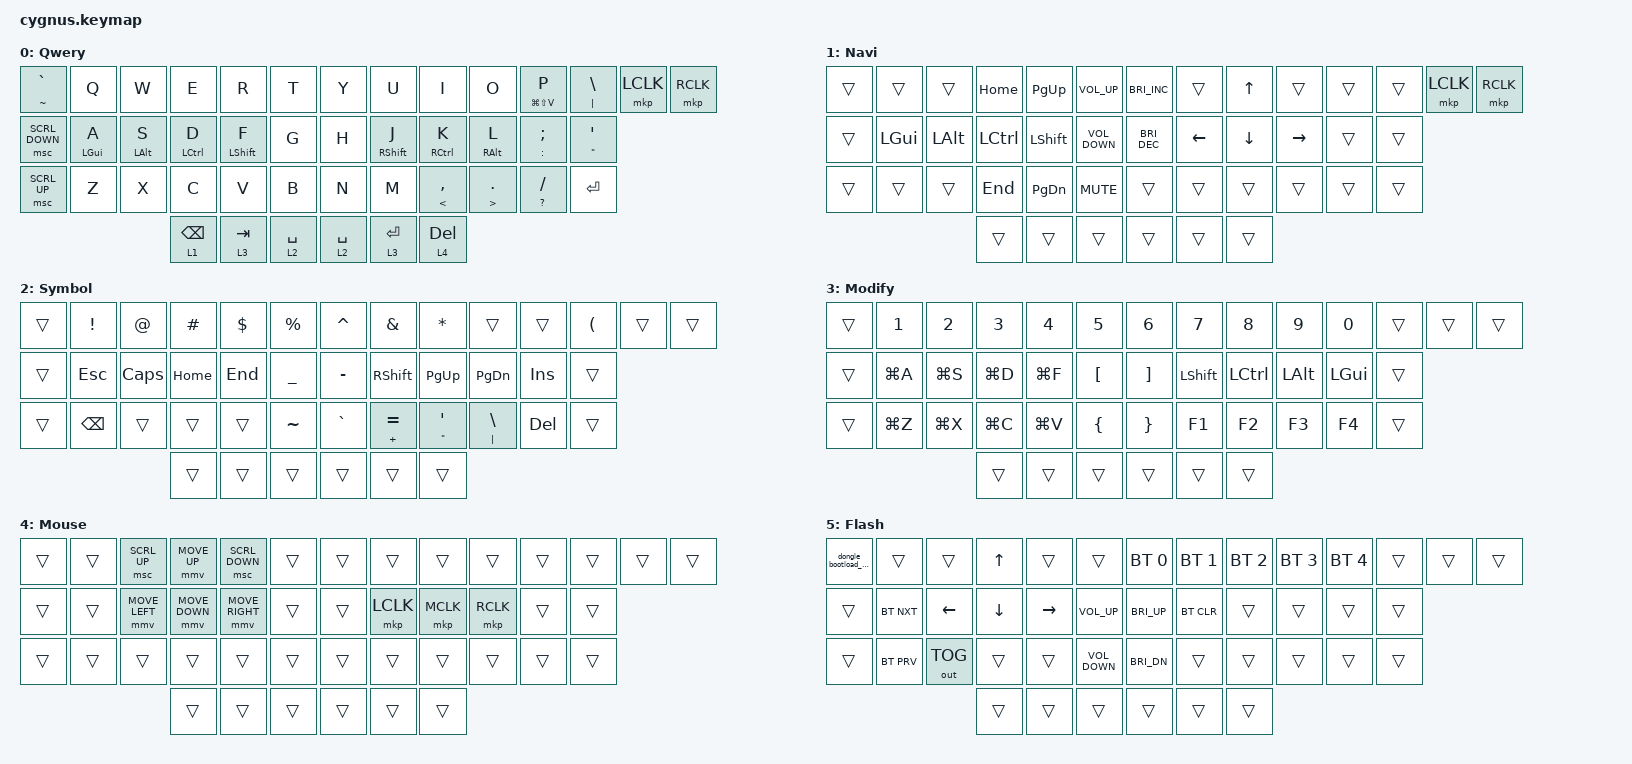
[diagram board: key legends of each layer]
/*
 * Copyright (c) 2020 The ZMK Contributors
 *
 * SPDX-License-Identifier: MIT
 */

#include <behaviors/mouse_keys.dtsi>
#include <dt-bindings/zmk/mouse.h>
#include <behaviors.dtsi>
#include <dt-bindings/zmk/bt.h>
#include <dt-bindings/zmk/keys.h>
#include <dt-bindings/zmk/outputs.h>


&mt {
    tapping-term-ms = <200>;
    flavor = "tap-preferred";
};

&sk {
    release-after-ms = <2000>;
    quick-release;
};

/ {
    macros {
        dongle_bootload_macro: bootload_macro {
            compatible = "zmk,behavior-macro";
            #binding-cells = <0>;
            bindings = <&bootloader>;
            label = "BOOTLOAD_MACRO";
        };
    };

    combos {
        compatible = "zmk,combos";

        left_bkt {
            bindings = <&kp LBKT>;
            key-positions = <3 4>;
            timeout-ms = <50>;
        };

        right_bkt {
            bindings = <&kp RBKT>;
            key-positions = <7 8>;
            timeout-ms = <50>;
        };

        left_par {
            bindings = <&kp LEFT_PARENTHESIS>;
            key-positions = <17 18>;
            timeout-ms = <50>;
        };

        right_par {
            bindings = <&kp RIGHT_PARENTHESIS>;
            key-positions = <22 21>;
            timeout-ms = <50>;
        };

        left_brace {
            bindings = <&kp LEFT_BRACE>;
            key-positions = <29 30>;
            timeout-ms = <50>;
        };

        right_brace {
            bindings = <&kp RIGHT_BRACE>;
            key-positions = <33 34>;
            timeout-ms = <50>;
        };

        bac {
            bindings = <&kp BACKSLASH>;
            key-positions = <5 6>;
        };

        pipe {
            bindings = <&kp PIPE>;
            key-positions = <19 20>;
        };

        esc {
            bindings = <&kp ESC>;
            key-positions = <0 1>;
        };

        plus {
            bindings = <&kp PLUS>;
            key-positions = <9 8>;
        };

        equal {
            bindings = <&kp EQUAL>;
            key-positions = <23 22>;
        };
    };

    behaviors {
        hm: homerow_mods {
            compatible = "zmk,behavior-hold-tap";
            label = "HOMEROW_MODS";
            #binding-cells = <2>;
            tapping-term-ms = <200>;
            quick_tap_ms = <0>;
            flavor = "tap-preferred";
            bindings = <&kp>, <&kp>;

            quick-tap-ms = <180>;
            global-quick-tap;
        };

        ltq: ltq {
            compatible = "zmk,behavior-hold-tap";
            label = "LTQ";
            #binding-cells = <2>;
            tapping-term-ms = <200>;
            flavor = "hold-preferred";
            bindings = <&mo>, <&kp>;

            quick-tap-ms = <180>;
        };

        as: as {
            compatible = "zmk,behavior-hold-tap";
            label = "AUTO_SHIFT";
            bindings = <&kp>, <&kp>;

            #binding-cells = <2>;
            tapping-term-ms = <135>;
            quick-tap-ms = <0>;
            flavor = "tap-preferred";
        };
    };

    keymap {
        compatible = "zmk,keymap";

        Qwery {
            bindings = <
&as TILDE GRAVE  &kp Q           &kp W           &kp E             &kp R             &kp T        &kp Y         &kp U              &kp I                &kp O                    &hm LG(LS(V)) P      &as PIPE BACKSLASH              &mkp LCLK  &mkp RCLK
&msc SCRL_DOWN   &hm LEFT_GUI A  &hm LEFT_ALT S  &hm LCTRL D       &hm LEFT_SHIFT F  &kp G        &kp H         &hm RIGHT_SHIFT J  &hm RCTRL K          &hm RIGHT_ALT L          &as COLON SEMICOLON  &as DOUBLE_QUOTES SINGLE_QUOTE
&msc SCRL_UP     &kp Z           &kp X           &kp C             &kp V             &kp B        &kp N         &kp M              &as LESS_THAN COMMA  &as GREATER_THAN PERIOD  &as QUESTION SLASH   &kp ENTER
                                                 &ltq 1 BACKSPACE  &lt 3 TAB         &lt 2 SPACE  &ltq 2 SPACE  &ltq 3 ENTER       &ltq 4 DEL
            >;

            label = "Qwery";
        };

        Navi {
            bindings = <
&trans  &trans        &trans        &kp HOME          &kp PAGE_UP     &kp C_VOLUME_UP    &kp C_BRIGHTNESS_INC  &trans    &kp UP_ARROW    &trans           &trans  &trans  &mkp LCLK  &mkp RCLK
&trans  &kp LEFT_GUI  &kp LEFT_ALT  &kp LEFT_CONTROL  &kp LEFT_SHIFT  &kp C_VOLUME_DOWN  &kp C_BRIGHTNESS_DEC  &kp LEFT  &kp DOWN_ARROW  &kp RIGHT_ARROW  &trans  &trans
&trans  &trans        &trans        &kp END           &kp PAGE_DOWN   &kp K_MUTE         &trans                &trans    &trans          &trans           &trans  &trans
                                    &trans            &trans          &trans             &trans                &trans    &trans
            >;

            label = "Navi";
        };

        Symbol {
            bindings = <
&trans  &kp EXCLAMATION  &kp AT_SIGN   &kp HASH  &kp DOLLAR  &kp PERCENT  &kp CARET  &kp AMPERSAND    &kp STAR                        &trans              &trans      &kp LEFT_PARENTHESIS  &trans  &trans
&trans  &kp ESCAPE       &kp CAPSLOCK  &kp HOME  &kp END     &kp UNDER    &kp MINUS  &kp RIGHT_SHIFT  &kp PAGE_UP                     &kp PAGE_DOWN       &kp INSERT  &trans
&trans  &kp BACKSPACE    &trans        &trans    &trans      &kp TILDE    &kp GRAVE  &as PLUS EQUAL   &as DOUBLE_QUOTES SINGLE_QUOTE  &as PIPE BACKSLASH  &kp DEL     &trans
                                       &trans    &trans      &trans       &trans     &trans           &trans
            >;

            label = "Symbol";
        };

        Modify {
            bindings = <
&trans  &kp NUMBER_1  &kp NUMBER_2  &kp NUMBER_3  &kp NUMBER_4  &kp NUMBER_5      &kp NUMBER_6       &kp NUMBER_7    &kp NUMBER_8      &kp NUMBER_9  &kp NUMBER_0  &trans  &trans  &trans
&trans  &kp LG(A)     &kp LG(S)     &kp LG(D)     &kp LG(F)     &kp LEFT_BRACKET  &kp RIGHT_BRACKET  &kp LEFT_SHIFT  &kp LEFT_CONTROL  &kp LEFT_ALT  &kp LEFT_GUI  &trans
&trans  &kp LG(Z)     &kp LG(X)     &kp LG(C)     &kp LG(V)     &kp LEFT_BRACE    &kp RIGHT_BRACE    &kp F1          &kp F2            &kp F3        &kp F4        &trans
                                    &trans        &trans        &trans            &trans             &trans          &trans
            >;

            label = "Modify";
        };

        Mouse {
            bindings = <
&trans  &trans  &msc SCRL_UP    &mmv MOVE_UP    &msc SCRL_DOWN   &trans  &trans  &trans     &trans     &trans     &trans  &trans  &trans  &trans
&trans  &trans  &mmv MOVE_LEFT  &mmv MOVE_DOWN  &mmv MOVE_RIGHT  &trans  &trans  &mkp LCLK  &mkp MCLK  &mkp RCLK  &trans  &trans
&trans  &trans  &trans          &trans          &trans           &trans  &trans  &trans     &trans     &trans     &trans  &trans
                                &trans          &trans           &trans  &trans  &trans     &trans
            >;

            label = "Mouse";
        };

        Flash {
            bindings = <
&dongle_bootload_macro  &trans      &trans        &kp UP    &trans     &trans             &bt BT_SEL 0  &bt BT_SEL 1  &bt BT_SEL 2  &bt BT_SEL 3  &bt BT_SEL 4  &trans  &trans  &trans
&trans                  &bt BT_NXT  &kp LEFT      &kp DOWN  &kp RIGHT  &kp C_VOLUME_UP    &kp C_BRI_UP  &bt BT_CLR    &trans        &trans        &trans        &trans
&trans                  &bt BT_PRV  &out OUT_TOG  &trans    &trans     &kp C_VOLUME_DOWN  &kp C_BRI_DN  &trans        &trans        &trans        &trans        &trans
                                                  &trans    &trans     &trans             &trans        &trans        &trans
            >;

            label = "Flash";
        };
    };

    conditional_layers {
        compatible = "zmk,conditional-layers";

        Flash {
            if-layers = <2 3>;
            then-layer = <5>;
        };
    };
};
